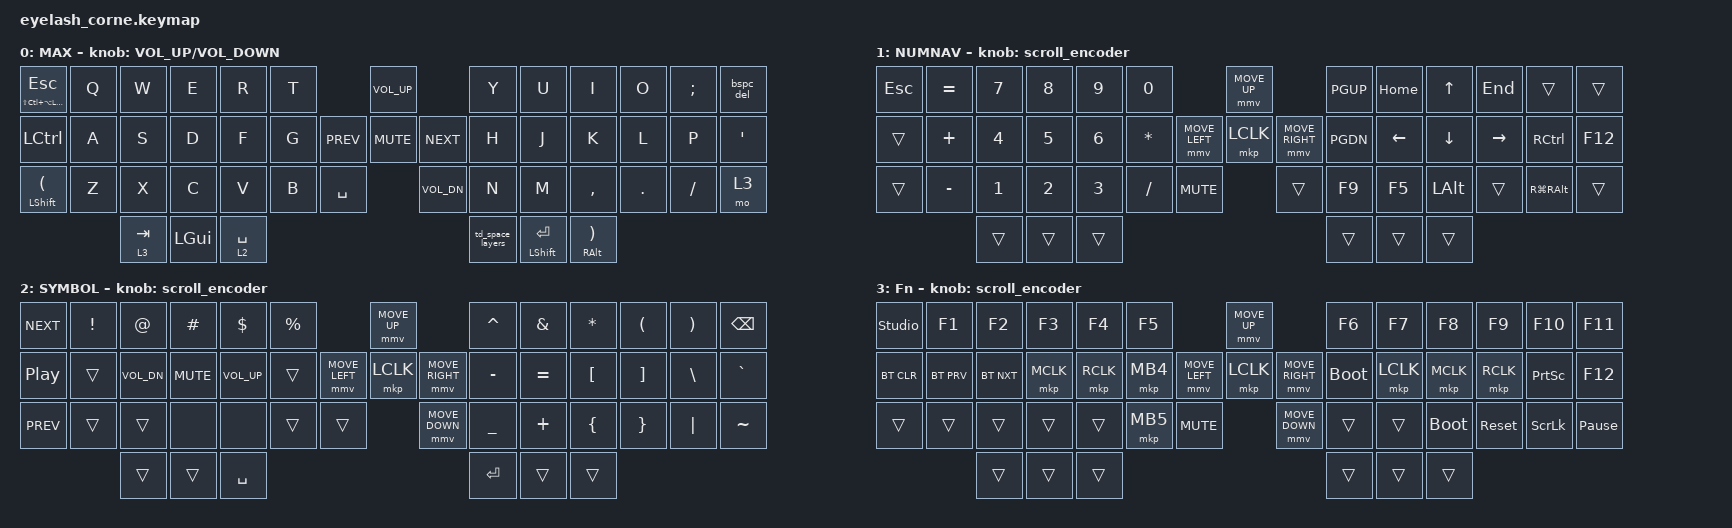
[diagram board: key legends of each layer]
#define ZMK_POINTING_DEFAULT_MOVE_VAL 1200  // 600
#define ZMK_POINTING_DEFAULT_SCRL_VAL 25   // 10

#include <input/processors.dtsi>
#include <zephyr/dt-bindings/input/input-event-codes.h>
#include <behaviors.dtsi>
#include <dt-bindings/zmk/bt.h>
#include <dt-bindings/zmk/keys.h>
#include <dt-bindings/zmk/outputs.h>
#include <dt-bindings/zmk/pointing.h>
#include <dt-bindings/zmk/rgb.h>

&mmv_input_listener { input-processors = <&zip_xy_scaler 2 1>; };

&msc_input_listener { input-processors = <&zip_scroll_scaler 2 1>; };

&msc {
    acceleration-exponent = <1>;      // 0
    time-to-max-speed-ms = <100>;       // 300
    delay-ms = <0>;                   // 0
};

&mmv {
    time-to-max-speed-ms = <500>;
    acceleration-exponent = <1>;
    trigger-period-ms = <16>;
};

&soft_off { hold-time-ms = <2000>; };

/ { 
    behaviors {
        td0: td0 {
            compatible = "zmk,behavior-tap-dance";
            display-name = "Shift/Caps Lock Tap Dance";
            #binding-cells = <0>;
            bindings = <&kp LEFT_SHIFT>, <&kp CAPS>;
        };

        // Space hold-tap: tap=space, hold=raise layer (for single tap behavior)
        spc_raise: spc-raise {
            compatible = "zmk,behavior-hold-tap";
            #binding-cells = <2>;
            tapping-term-ms = <200>;
            quick-tap-ms = <150>;
            flavor = "tap-preferred";
            bindings = <&mo>, <&kp>;
        };

        // Slash hold-tap: tap=slash, hold=lower layer (for double tap behavior)  
        slash_lower: slash-lower {
            compatible = "zmk,behavior-hold-tap";
            #binding-cells = <2>;
            tapping-term-ms = <200>;
            quick-tap-ms = <150>;
            flavor = "tap-preferred";
            bindings = <&mo>, <&kp>;
        };

        // Space complex tap-dance with hold functionality
        td_space_layers: td-space-layers {
            compatible = "zmk,behavior-tap-dance";
            #binding-cells = <0>;
            tapping-term-ms = <200>;
            bindings = <&spc_raise 1 SPACE>, <&slash_lower 2 FSLH>;
        };

        bspc_del: backspace_delete {
            compatible = "zmk,behavior-mod-morph";
            #binding-cells = <0>;
            bindings = <&kp BACKSPACE>, <&kp DELETE>;
            mods = <(MOD_LSFT|MOD_RSFT)>;
            keep-mods = <(MOD_RSFT)>;
        };
    };

    rgb_encoder: rgb_encoder {
        compatible = "zmk,behavior-sensor-rotate";
        #sensor-binding-cells = <0>;
        bindings = <&rgb_ug RGB_BRI>, <&rgb_ug RGB_BRD>;
    };

    scroll_encoder: scroll_encoder {
        compatible = "zmk,behavior-sensor-rotate";
        #sensor-binding-cells = <0>;
        bindings = <&msc SCRL_DOWN>, <&msc SCRL_UP>;

        tap-ms = <100>;
    };

    combos {
        compatible = "zmk,combos";

        softoff {
            bindings = <&soft_off>;
            key-positions = <1 15 29>;
        };

        combo_caps: combo {
            timeout-ms = <50>;
            key-positions = <1 2 3>;   // Q, W, E in this exact layout
            bindings = <&kp CAPSLOCK>;
        };
        
        // j and k for left bracker and u and i for right brace { and }
        combo_brace_l: combo_brace_l {
            timeout-ms = <50>;
            key-positions = <23 24>;   // J, K
            bindings = <&kp LBRC>;
        };

        combo_brace_r: combo_brace_r {
            timeout-ms = <50>;
            key-positions = <24 25>;   // K, L
            bindings = <&kp RBRC>;
        };

        combo_bracket_l: combo_bracket_l {
            timeout-ms = <50>;
            key-positions = <8 9>;  // U, I
            bindings = <&kp LBKT>;
        };
        
        combo_bracket_r: combo_bracket_r {
            timeout-ms = <50>;
            key-positions = <9 10>;   // I, O
            bindings = <&kp RBKT>;
        };

        combo_paren_l: combo_paren_l {
            timeout-ms = <50>;
            key-positions = <37 38>;  // M, ,
            bindings = <&kp LPAR>;
        };
        
        combo_paren_r: combo_paren_r {
            timeout-ms = <50>;
            key-positions = <38 39>;   // ,, .
            bindings = <&kp RPAR>;
        };

        combo_colon: combo_colon {
            timeout-ms = <50>;
            key-positions = <16 17>;   // D, F
            bindings = <&kp COLON>;
        };

        combo_semicolon: combo_semicolon {
            timeout-ms = <50>;
            key-positions = <15 16>;   // S, D
            bindings = <&kp SEMI>;
        };

        combo_screenshot_mac: combo_screenshot_mac {
            timeout-ms = <50>;
            key-positions = <30 31>;   // Z, X
            bindings = <&mt LS(LGUI(2))>;
        };

    };

    keymap {
        compatible = "zmk,keymap";

        default_layer {
            display-name = "MAX";
            bindings = <
&mt LS(LC(LA(LGUI))) ESC &kp Q  &kp W  &kp E     &kp R  &kp T                               &kp C_VOL_UP           &kp Y        &kp U  &kp I      &kp O    &kp SEMI  &bspc_del
&kp LCTRL                &kp A  &kp S  &kp D     &kp F  &kp G                    &kp C_PREV &kp C_MUTE  &kp C_NEXT &kp H        &kp J  &kp K      &kp L    &kp P     &kp SQT
&mt LSHIFT LPAR          &kp Z  &kp X  &kp C     &kp V  &kp B        &kp SPACE              &kp C_VOL_DN         &kp N        &kp M  &kp COMMA  &kp DOT  &kp FSLH  &mo 3
                                &lt 3 TAB   &kp LGUI  &lt 2 SPACE                                      &td_space_layers  &mt LSHIFT RET  &mt RALT RPAR
            >;

            sensor-bindings = <&inc_dec_kp C_VOLUME_UP C_VOLUME_DOWN>;
        };

        lower_layer {
            display-name = "NUMNAV";
            bindings = <
&kp ESC &kp EQUAL   &kp N7          &kp N8        &kp N9        &kp N0                                         &mmv MOVE_UP                     &kp PGUP         &kp HOME         &kp UP           &kp END          &trans       &trans
&trans  &kp PLUS    &kp N4          &kp N5        &kp N6        &kp STAR                       &mmv MOVE_LEFT  &mkp LCLK       &mmv MOVE_RIGHT  &kp PGDN         &kp LEFT         &kp DOWN         &kp RIGHT        &kp RCTRL    &kp F12
&trans  &kp MINUS   &kp N1          &kp N2        &kp N3        &kp SLASH        &kp C_MUTE                    &trans                           &kp F9           &kp F5           &kp LALT         &trans           &kp RG(RALT) &trans
                                         &trans        &trans        &trans                                                &trans          &trans          &trans
            >;

            sensor-bindings = <&scroll_encoder>;
        };

        raise_layer {
            display-name = "SYMBOL";
            bindings = <
&kp C_NEXT       &kp EXCL &kp AT         &kp HASH   &kp DLLR     &kp PRCNT                            &mmv MOVE_UP                     &kp CARET  &kp AMPS   &kp ASTRK  &kp LPAR  &kp RPAR  &kp BSPC
&kp C_PLAY_PAUSE &trans   &kp C_VOL_DN   &kp C_MUTE &kp C_VOL_UP &trans               &mmv MOVE_LEFT  &mkp LCLK       &mmv MOVE_RIGHT  &kp MINUS  &kp EQUAL  &kp LBKT   &kp RBKT  &kp BSLH  &kp GRAVE
&kp C_PREV       &trans   &trans         &none      &none        &trans     &trans                    &mmv MOVE_DOWN                   &kp UNDER  &kp PLUS   &kp LBRC   &kp RBRC  &kp PIPE  &kp TILDE
                                    &trans     &trans     &kp SPACE                                                             &kp RET    &trans     &trans
            >;

            sensor-bindings = <&scroll_encoder>;
        };

        layer_3 {
            display-name = "Fn";
            bindings = <
&studio_unlock  &kp F1      &kp F2     &kp F3       &kp F4     &kp F5                                  &mmv MOVE_UP                     &kp F6       &kp F7     &kp F8       &kp F9      &kp F10          &kp F11
&bt BT_CLR      &bt BT_PRV  &bt BT_NXT &mkp MCLK    &mkp RCLK  &mkp MB4                &mmv MOVE_LEFT  &mkp LCLK       &mmv MOVE_RIGHT  &bootloader  &mkp LCLK  &mkp MCLK    &mkp RCLK   &kp PRINTSCREEN  &kp F12
&trans          &trans      &trans     &trans       &trans     &mkp MB5  &kp C_MUTE                    &mmv MOVE_DOWN                   &trans       &trans     &bootloader  &sys_reset  &kp SCROLLLOCK   &kp PAUSE_BREAK
                                       &trans       &trans     &trans                                                                   &trans       &trans     &trans
            >;

            sensor-bindings = <&scroll_encoder>;
        };
    };
};
